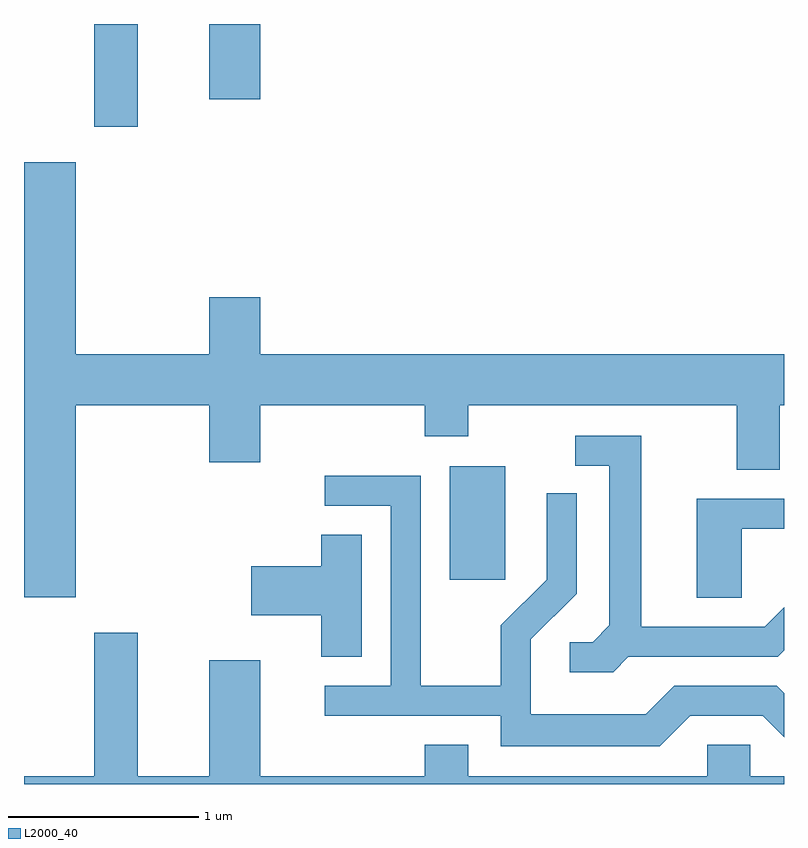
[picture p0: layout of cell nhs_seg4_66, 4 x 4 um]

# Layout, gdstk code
import gdstk
lib = gdstk.Library(unit=1e-6, precision=1e-09)
def R(c, l, rs):  # rectangles x0, y0, x1, y1
    for r in rs: c.add(gdstk.rectangle(r[:2], r[2:], *l))
def P(c, l, *ps):  # polygons
    for p in ps: c.add(gdstk.Polygon(p, *l))
L2000_40 = (2000, 40)

nhs_seg4_66 = lib.new_cell('nhs_seg4_66')
R(nhs_seg4_66, L2000_40, [(187.851,1387.056,188.144,1387.654), (185.981,1389.441,186.209,1389.982), (186.586,1389.586,186.854,1389.982)])
P(nhs_seg4_66, L2000_40, [(185.884,1387.976),(186.586,1387.976),(186.586,1387.676),(186.854,1387.676),(186.854,1387.976),(187.721,1387.976),(187.721,1387.811),(187.949,1387.811),(187.949,1387.976),(189.361,1387.976),(189.361,1387.636),(189.589,1387.636),(189.589,1387.976),(189.611,1387.976),(189.611,1388.244),(186.854,1388.244),(186.854,1388.544),(186.586,1388.544),(186.586,1388.244),(185.884,1388.244),(185.884,1389.254),(185.611,1389.254),(185.611,1386.966),(185.884,1386.966)],
  [(188.792,1386.651),(189.577,1386.651),(189.611,1386.685),(189.611,1386.912),(189.509,1386.809),(188.859,1386.809),(188.859,1387.814),(188.513,1387.814),(188.513,1387.656),(188.691,1387.656),(188.691,1386.817),(188.604,1386.729),(188.483,1386.729),(188.483,1386.571),(188.712,1386.571)],
  [(189.117,1386.341),(189.499,1386.341),(189.611,1386.229),(189.611,1386.46),(189.572,1386.499),(189.034,1386.499),(188.884,1386.349),(188.279,1386.349),(188.279,1386.744),(188.519,1386.984),(188.519,1387.513),(188.361,1387.513),(188.361,1387.057),(188.121,1386.817),(188.121,1386.499),(187.699,1386.499),(187.699,1387.604),(187.193,1387.604),(187.193,1387.446),(187.541,1387.446),(187.541,1386.499),(187.193,1386.499),(187.193,1386.341),(188.121,1386.341),(188.121,1386.181),(188.957,1386.181)],
  [(189.389,1387.326),(189.611,1387.326),(189.611,1387.484),(189.151,1387.484),(189.151,1386.961),(189.389,1386.961)],
  [(187.389,1387.294),(187.176,1387.294),(187.176,1387.129),(186.806,1387.129),(186.806,1386.871),(187.176,1386.871),(187.176,1386.651),(187.389,1386.651)],
  [(189.611,1386.024),(189.434,1386.024),(189.434,1386.189),(189.206,1386.189),(189.206,1386.024),(187.949,1386.024),(187.949,1386.189),(187.721,1386.189),(187.721,1386.024),(186.854,1386.024),(186.854,1386.634),(186.586,1386.634),(186.586,1386.024),(186.209,1386.024),(186.209,1386.779),(185.981,1386.779),(185.981,1386.024),(185.611,1386.024),(185.611,1385.982),(189.611,1385.982)])

lib.write_gds('nhs_seg4_66.gds')
